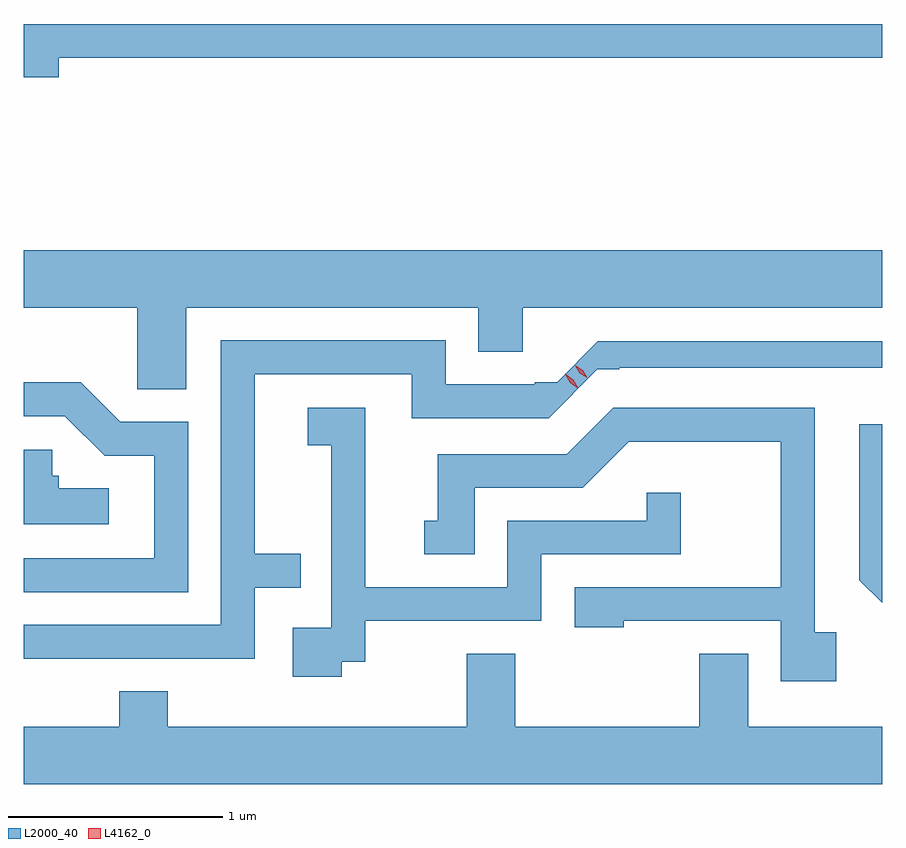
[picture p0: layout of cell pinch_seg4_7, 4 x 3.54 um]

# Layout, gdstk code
import gdstk
lib = gdstk.Library(unit=1e-6, precision=1e-09)
def P(c, l, *ps):  # polygons
    for p in ps: c.add(gdstk.Polygon(p, *l))
L2000_40 = (2000, 40)
L4162_0 = (4162, 0)

pinch_seg4_7 = lib.new_cell('pinch_seg4_7')
P(pinch_seg4_7, L2000_40, [(857.844,1318.101),(861.683,1318.101),(861.683,1318.259),(857.683,1318.259),(857.683,1318.011),(857.844,1318.011)],
  [(858.439,1316.936),(859.801,1316.936),(859.801,1316.731),(860.009,1316.731),(860.009,1316.936),(861.683,1316.936),(861.683,1317.204),(857.683,1317.204),(857.683,1316.936),(858.211,1316.936),(858.211,1316.556),(858.439,1316.556)],
  [(858.759,1315.631),(858.973,1315.631),(858.973,1315.789),(858.759,1315.789),(858.759,1316.626),(859.491,1316.626),(859.491,1316.421),(860.129,1316.421),(860.356,1316.649),(860.458,1316.649),(860.458,1316.657),(861.683,1316.657),(861.683,1316.779),(860.358,1316.779),(860.169,1316.59),(860.064,1316.59),(860.064,1316.579),(859.649,1316.579),(859.649,1316.784),(858.601,1316.784),(858.601,1315.459),(857.683,1315.459),(857.683,1315.301),(858.759,1315.301)],
  [(858.449,1316.404),(858.132,1316.404),(857.947,1316.589),(857.683,1316.589),(857.683,1316.431),(857.874,1316.431),(858.059,1316.246),(858.291,1316.246),(858.291,1315.769),(857.683,1315.769),(857.683,1315.611),(858.449,1315.611)],
  [(861.469,1315.424),(861.369,1315.424),(861.369,1316.469),(860.429,1316.469),(860.214,1316.254),(859.611,1316.254),(859.611,1315.944),(859.548,1315.944),(859.548,1315.786),(859.784,1315.786),(859.784,1316.096),(860.287,1316.096),(860.502,1316.311),(861.211,1316.311),(861.211,1315.634),(860.251,1315.634),(860.251,1315.446),(860.479,1315.446),(860.479,1315.476),(861.211,1315.476),(861.211,1315.196),(861.469,1315.196)],
  [(859.164,1315.286),(859.274,1315.286),(859.274,1315.476),(860.094,1315.476),(860.094,1315.786),(860.744,1315.786),(860.744,1316.073),(860.586,1316.073),(860.586,1315.944),(859.936,1315.944),(859.936,1315.634),(859.274,1315.634),(859.274,1316.469),(859.006,1316.469),(859.006,1316.296),(859.116,1316.296),(859.116,1315.444),(858.936,1315.444),(858.936,1315.216),(859.164,1315.216)],
  [(861.683,1316.394),(861.576,1316.394),(861.576,1315.667),(861.683,1315.56)],
  [(858.078,1316.094),(857.844,1316.094),(857.844,1316.154),(857.814,1316.154),(857.814,1316.274),(857.683,1316.274),(857.683,1315.926),(858.078,1315.926)],
  [(861.683,1314.984),(861.059,1314.984),(861.059,1315.324),(860.831,1315.324),(860.831,1314.984),(859.974,1314.984),(859.974,1315.324),(859.746,1315.324),(859.746,1314.984),(858.354,1314.984),(858.354,1315.149),(858.126,1315.149),(858.126,1314.984),(857.683,1314.984),(857.683,1314.716),(861.683,1314.716)])
P(pinch_seg4_7, L4162_0, [(860.308,1316.611),(860.275,1316.631),(860.254,1316.665),(860.254,1316.666),(860.255,1316.666),(860.289,1316.645),(860.309,1316.611),(860.309,1316.611)],
  [(860.265,1316.56),(860.229,1316.587),(860.207,1316.627),(860.207,1316.628),(860.207,1316.628),(860.244,1316.6),(860.266,1316.561),(860.266,1316.56)])

lib.write_gds('pinch_seg4_7.gds')
